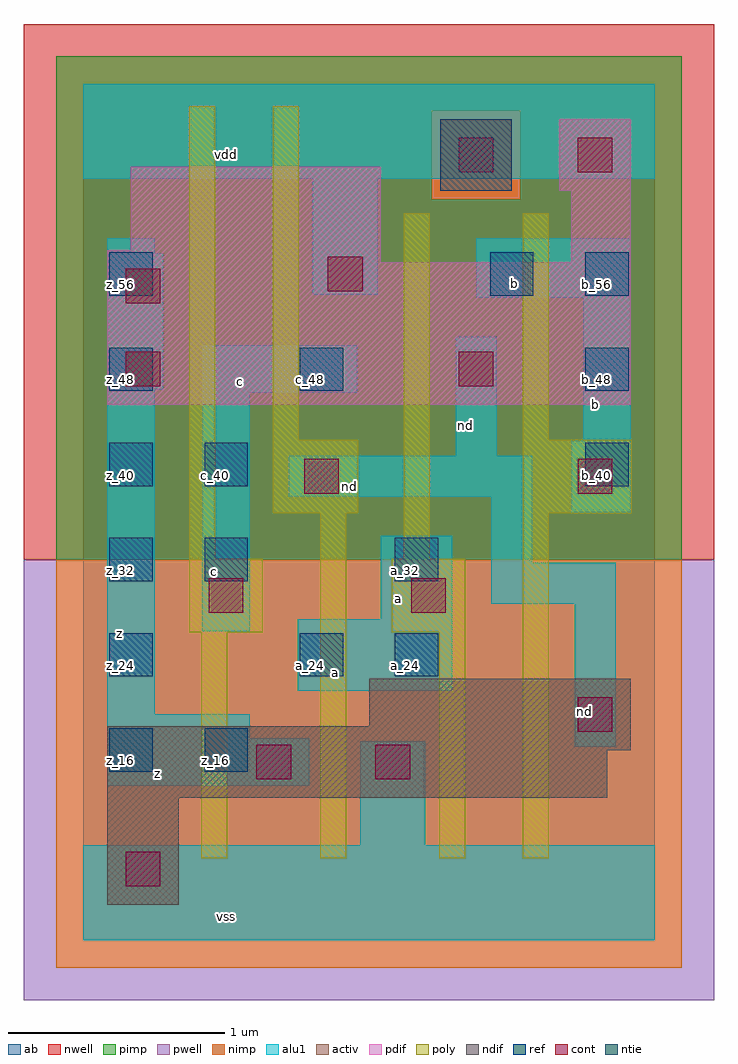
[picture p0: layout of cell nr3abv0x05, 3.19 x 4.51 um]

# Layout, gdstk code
import gdstk
lib = gdstk.Library(unit=1e-6, precision=2.5e-09)
def R(c, l, rs):  # rectangles x0, y0, x1, y1
    for r in rs: c.add(gdstk.rectangle(r[:2], r[2:], *l))
def A(c, l, x, y, w, h, nx, ny, dx, dy):  # array of equal rectangles
    R(c, l, [(x+i*dx, y+j*dy, x+i*dx+w, y+j*dy+h) for i in range(nx) for j in range(ny)])
ndif = (3, 0)
pdif = (4, 0)
ntie = (5, 0)
ref = (24, 0)
cont = (25, 0)
pwell = (41, 0)
nwell = (42, 0)
activ = (43, 0)
pimp = (44, 0)
nimp = (45, 0)
poly = (46, 0)
alu1 = (49, 0)
ab = (63, 0)

nr3abv0x05 = lib.new_cell('nr3abv0x05')
R(nr3abv0x05, ndif, [(0.11,0.165,0.44,0.66), (0.11,0.66,2.42,0.88), (0.11,0.88,2.53,0.99), (1.32,0.99,2.53,1.21)])
R(nr3abv0x05, pdif, [(0.11,2.475,2.53,3.135), (0.11,3.135,1.375,3.19), (2.255,3.135,2.53,3.465), (0.22,3.19,1.375,3.575), (2.2,3.465,2.53,3.795)])
R(nr3abv0x05, ntie, [(1.65,3.465,1.98,3.795)])
A(nr3abv0x05, ref, 0.12, 0.78, 0.2, 0.2, 1, 6, 0, 0.44)
A(nr3abv0x05, ref, 2.32, 2.1, 0.2, 0.2, 1, 3, 0, 0.44)
R(nr3abv0x05, ref, [(0.56,0.78,0.76,0.98), (1,1.22,1.2,1.42), (1.44,1.22,1.64,1.42), (0.56,1.66,0.76,1.86), (1.44,1.66,1.64,1.86), (0.56,2.1,0.76,2.3), (1,2.54,1.2,2.74), (1.88,2.98,2.08,3.18)])
R(nr3abv0x05, cont, [(0.195,0.25,0.355,0.41), (0.8,0.745,0.96,0.905), (1.35,0.745,1.51,0.905), (2.285,0.965,2.445,1.125), (0.58,1.515,0.74,1.675), (1.515,1.515,1.675,1.675), (1.02,2.065,1.18,2.225), (2.285,2.065,2.445,2.225), (0.195,2.56,0.355,2.72), (1.735,2.56,1.895,2.72), (0.195,2.945,0.355,3.105), (1.13,3,1.29,3.16), (1.735,3.55,1.895,3.71), (2.285,3.55,2.445,3.71)])
R(nr3abv0x05, pwell, [(-0.275,-0.275,2.915,1.76)])
R(nr3abv0x05, nwell, [(-0.275,1.76,2.915,4.235)])
R(nr3abv0x05, activ, [(0.11,0.165,0.44,0.66), (0.11,0.66,2.42,0.88), (0.11,0.88,2.53,0.99), (1.32,0.99,2.53,1.21), (0.11,2.475,2.53,3.135), (0.11,3.135,1.375,3.19), (2.255,3.135,2.53,3.465), (0.22,3.19,1.375,3.575), (1.65,3.465,1.98,3.795), (2.2,3.465,2.53,3.795)])
R(nr3abv0x05, pimp, [(-0.125,1.76,2.765,3.425), (-0.125,3.425,1.61,3.835), (2.02,3.425,2.765,3.835), (-0.125,3.835,2.765,4.085)])
R(nr3abv0x05, nimp, [(-0.125,-0.125,2.765,1.76), (1.61,3.425,2.02,3.835)])
R(nr3abv0x05, poly, [(0.545,0.38,0.665,1.425), (1.095,0.38,1.215,1.975), (1.645,0.38,1.765,1.425), (2.03,0.38,2.15,1.975), (0.49,1.425,0.83,1.765), (1.425,1.425,1.765,1.765), (0.49,1.765,0.61,3.855), (1.48,1.765,1.6,3.36), (0.875,1.975,1.27,2.315), (2.03,1.975,2.535,2.315), (0.875,2.315,0.995,3.855), (2.03,2.315,2.15,3.36)])
R(nr3abv0x05, alu1, [(0,0,2.64,0.44), (1.28,0.44,1.58,0.92), (0.11,0.715,1.045,0.935), (2.27,0.895,2.46,1.555), (0.11,0.935,0.77,1.045), (0.11,1.045,0.33,2.545), (0.99,1.155,1.705,1.485), (0.55,1.43,0.77,2.53), (1.375,1.485,1.705,1.87), (1.885,1.555,2.46,1.745), (1.885,1.745,2.075,2.05), (2.255,1.98,2.53,2.31), (0.95,2.05,2.075,2.24), (1.72,2.24,1.91,2.79), (2.31,2.31,2.53,2.97), (0.55,2.53,1.265,2.75), (0.11,2.545,0.37,3.175), (1.815,2.97,2.53,3.245), (1.06,2.985,1.36,3.52), (0.11,3.175,0.33,3.245), (0,3.52,2.64,3.96)])
R(nr3abv0x05, ab, [(0,0,2.64,3.96)])
nr3abv0x05.add(gdstk.Label('vss', (0.66,0.11), layer=49, texttype=0))
nr3abv0x05.add(gdstk.Label('nd', (2.3175,1.06), layer=49, texttype=0))
nr3abv0x05.add(gdstk.Label('z', (0.3425,0.77), layer=49, texttype=0))
nr3abv0x05.add(gdstk.Label('a', (1.1675,1.2375), layer=49, texttype=0))
nr3abv0x05.add(gdstk.Label('a', (1.4575,1.58), layer=49, texttype=0))
nr3abv0x05.add(gdstk.Label('nd', (1.23,2.0975), layer=49, texttype=0))
nr3abv0x05.add(gdstk.Label('b', (2.365,2.475), layer=49, texttype=0))
nr3abv0x05.add(gdstk.Label('nd', (1.7675,2.3775), layer=49, texttype=0))
nr3abv0x05.add(gdstk.Label('c', (0.605,1.705), layer=49, texttype=0))
nr3abv0x05.add(gdstk.Label('c', (0.7275,2.585), layer=49, texttype=0))
nr3abv0x05.add(gdstk.Label('z', (0.165,1.42), layer=49, texttype=0))
nr3abv0x05.add(gdstk.Label('b', (1.9925,3.0375), layer=49, texttype=0))
nr3abv0x05.add(gdstk.Label('vdd', (0.66,3.63), layer=49, texttype=0))
nr3abv0x05.add(gdstk.Label('b_56', (1.93,3.03), layer=24, texttype=0))
nr3abv0x05.add(gdstk.Label('b_56', (2.37,3.03), layer=24, texttype=0))
nr3abv0x05.add(gdstk.Label('b_48', (2.37,2.59), layer=24, texttype=0))
nr3abv0x05.add(gdstk.Label('b_40', (2.37,2.15), layer=24, texttype=0))
nr3abv0x05.add(gdstk.Label('a_24', (1.49,1.27), layer=24, texttype=0))
nr3abv0x05.add(gdstk.Label('a_32', (1.49,1.71), layer=24, texttype=0))
nr3abv0x05.add(gdstk.Label('z_48', (0.17,2.59), layer=24, texttype=0))
nr3abv0x05.add(gdstk.Label('z_40', (0.17,2.15), layer=24, texttype=0))
nr3abv0x05.add(gdstk.Label('z_32', (0.17,1.71), layer=24, texttype=0))
nr3abv0x05.add(gdstk.Label('z_24', (0.17,1.27), layer=24, texttype=0))
nr3abv0x05.add(gdstk.Label('c_40', (0.61,2.15), layer=24, texttype=0))
nr3abv0x05.add(gdstk.Label('c_32', (0.61,1.71), layer=24, texttype=0))
nr3abv0x05.add(gdstk.Label('z_16', (0.61,0.83), layer=24, texttype=0))
nr3abv0x05.add(gdstk.Label('z_56', (0.17,3.03), layer=24, texttype=0))
nr3abv0x05.add(gdstk.Label('z_16', (0.17,0.83), layer=24, texttype=0))
nr3abv0x05.add(gdstk.Label('c_48', (1.05,2.59), layer=24, texttype=0))
nr3abv0x05.add(gdstk.Label('a_24', (1.05,1.27), layer=24, texttype=0))

lib.write_gds('nr3abv0x05.gds')
